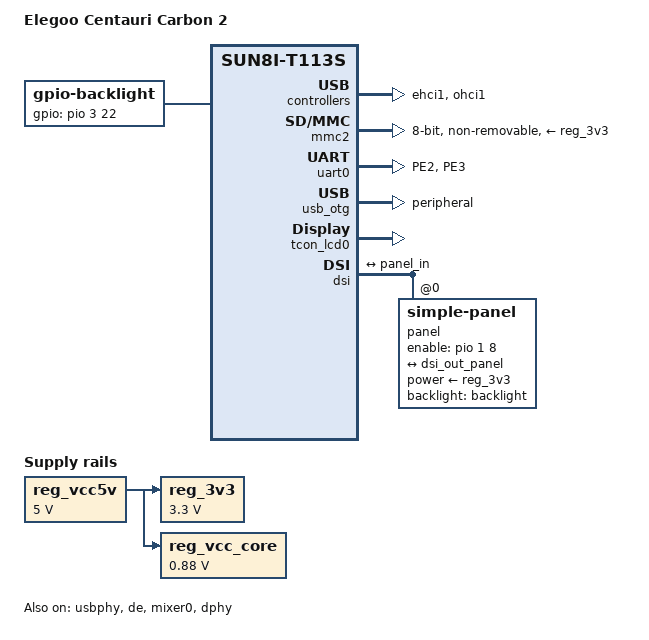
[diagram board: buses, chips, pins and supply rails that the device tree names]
// SPDX-License-Identifier: (GPL-2.0+ OR MIT)
// Copyright (C) 2026 James Turton.

/dts-v1/;

#include <dt-bindings/gpio/gpio.h>
#include "sun8i-t113s.dtsi"

/ {
	model = "Elegoo Centauri Carbon 2";
	compatible = "widora,mangopi-mq-r-t113", "allwinner,sun8i-t113s";

	aliases {
		serial0 = &uart0;
	};

	chosen {
		stdout-path = "serial0:115200n8";
	};

	/* board wide 5V supply directly from the USB-C socket */
	reg_vcc5v: regulator-5v {
		compatible = "regulator-fixed";
		regulator-name = "vcc-5v";
		regulator-min-microvolt = <5000000>;
		regulator-max-microvolt = <5000000>;
		regulator-always-on;
	};

	/* SY8008 DC/DC regulator on the board */
	reg_3v3: regulator-3v3 {
		compatible = "regulator-fixed";
		regulator-name = "vcc-3v3";
		regulator-min-microvolt = <3300000>;
		regulator-max-microvolt = <3300000>;
		vin-supply = <&reg_vcc5v>;
	};

	/* SY8008 DC/DC regulator on the board, also supplying VDD-SYS */
	reg_vcc_core: regulator-core {
		compatible = "regulator-fixed";
		regulator-name = "vcc-core";
		regulator-min-microvolt = <880000>;
		regulator-max-microvolt = <880000>;
		vin-supply = <&reg_vcc5v>;
	};

	backlight: backlight {
		compatible = "gpio-backlight";
		gpios = <&pio 3 22 GPIO_ACTIVE_HIGH>; /* PD22 - backlight on/off */
		default-on;
	};
};

&cpu0 {
	cpu-supply = <&reg_vcc_core>;
};

&cpu1 {
	cpu-supply = <&reg_vcc_core>;
};

&dcxo {
	clock-frequency = <24000000>;
};

&ehci1 {
	status = "okay";
};

&mmc2 {
    pinctrl-0 = <&mmc2_pins>;
    pinctrl-names = "default";
    vmmc-supply = <&reg_3v3>;
    vqmmc-supply = <&reg_3v3>;
    no-1-8-v;
    cap-mmc-highspeed;
    non-removable;
    cap-mmc-hw-reset;
    bus-width = <8>;
    max-frequency = <52000000>;
    status = "okay";
};

&ohci1 {
	status = "okay";
};

&pio {
	vcc-pb-supply = <&reg_3v3>;
	vcc-pd-supply = <&reg_3v3>;
	vcc-pe-supply = <&reg_3v3>;
	vcc-pf-supply = <&reg_3v3>;
	vcc-pg-supply = <&reg_3v3>;

	uart0_pe_pins: uart0-pe-pins {
		pins = "PE2", "PE3";
		function = "uart0";
	};
};

&uart0 {
	pinctrl-names = "default";
	pinctrl-0 = <&uart0_pe_pins>;
	status = "okay";
};

/* The USB-C socket has its CC pins pulled to GND, so is hardwired as a UFP. */
&usb_otg {
	dr_mode = "peripheral";
	status = "okay";
};

&usbphy {
	usb1_vbus-supply = <&reg_vcc5v>;
	status = "okay";
};

&de {
	status = "okay";
};

&mixer0 {
	status = "okay";
};

&tcon_lcd0 {
	status = "okay";
};

&dphy {
	status = "okay";
};

&dsi {
	pinctrl-names = "default";
	pinctrl-0 = <&dsi_4lane_pins>;
	status = "okay";

	panel@0 {
		/* ===== CHANGE THIS to match your actual panel ===== */
		compatible = "simple-panel";
		reg = <0>;
		backlight = <&backlight>;
		enable-gpios = <&pio 1 8 GPIO_ACTIVE_HIGH>; /* PB8 - panel enable */
		power-supply = <&reg_3v3>;

		display-timings {
			native-mode = <&timing0>;
			timing0: timing0 {
				clock-frequency = <20000000>;
				hactive = <532>;
				vactive = <300>;
				hback-porch = <80>;
				hfront-porch = <98>;
				hsync-len = <4>;
				vback-porch = <20>;
				vfront-porch = <138>;
				vsync-len = <4>;
			};
		};

		port {
			panel_in: endpoint {
				remote-endpoint = <&dsi_out_panel>;
			};
		};
	};

	port {
		dsi_out_panel: endpoint {
			remote-endpoint = <&panel_in>;
		};
	};
};
